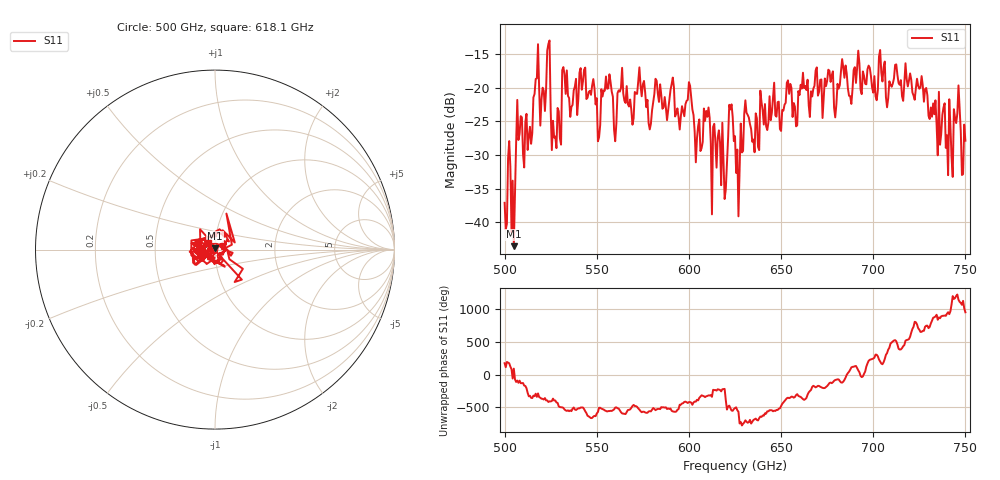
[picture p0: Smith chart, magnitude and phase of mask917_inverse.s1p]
!Created with skrf (http://scikit-rf.org).
# GHz S MA R 50.0
!freq magS11 angS11
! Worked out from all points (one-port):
!   401 points, 500 GHz to 750 GHz, reference 50 ohm
!   lowest |S11| = -43.6 dB at 505 GHz (marker M1), VSWR 1.01, Z = 50 + j0.664 ohm
!   |S11| at or under -10 dB: start of sweep to end of sweep
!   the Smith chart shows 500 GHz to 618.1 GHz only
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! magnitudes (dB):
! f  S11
! 500 GHz  -37.1
! 503.1 GHz  -31.8
! 505 GHz  -43.6
! 507.5 GHz  -27.8
! 513.8 GHz  -25.8
! 516.9 GHz  -18.7
! 520.6 GHz  -20.0
! 523.8 GHz  -13.5
! 526.9 GHz  -27.4
! 531.2 GHz  -17.4
! 542.5 GHz  -19.1
! 550.6 GHz  -28.0
! 562.5 GHz  -20.6
! 593.8 GHz  -23.1
! 609.4 GHz  -23.4
! 618.8 GHz  -31.2
! 622.5 GHz  -23.2
! 625 GHz  -27.2
! 626.2 GHz  -29.2
! 631.2 GHz  -23.7
! 636.9 GHz  -24.6
! 656.2 GHz  -24.4
! 676.9 GHz  -19.1
! 680 GHz  -22.5
! 683.8 GHz  -17.0
! 687.5 GHz  -21.3
! 718.8 GHz  -19.8
! 750 GHz  -27.9
